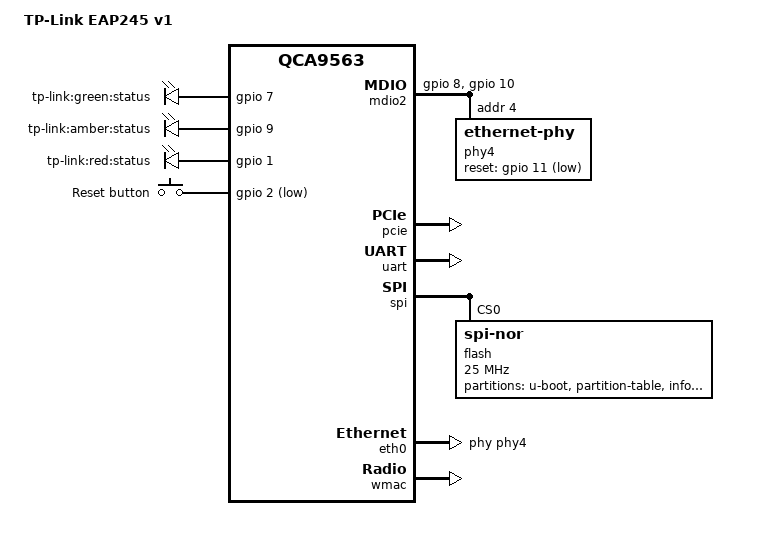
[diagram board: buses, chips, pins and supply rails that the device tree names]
// SPDX-License-Identifier: GPL-2.0-or-later OR MIT
/dts-v1/;

#include <dt-bindings/gpio/gpio.h>
#include <dt-bindings/input/input.h>

#include "qca956x.dtsi"

/ {
	compatible = "tplink,eap245-v1", "qca,qca9563";
	model = "TP-Link EAP245 v1";

	aliases {
		led-boot = &led_status_green;
		led-failsafe = &led_status_amber;
		led-running = &led_status_green;
		led-upgrade = &led_status_amber;
	};

	leds {
		compatible = "gpio-leds";

		led_status_green: status_green {
			label = "tp-link:green:status";
			gpios = <&gpio 7 GPIO_ACTIVE_HIGH>;
			default-state = "on";
		};

		led_status_amber: status_amber {
			label = "tp-link:amber:status";
			gpios = <&gpio 9 GPIO_ACTIVE_HIGH>;
		};

		led_status_red: status_red {
			label = "tp-link:red:status";
			gpios = <&gpio 1 GPIO_ACTIVE_HIGH>;
		};
	};

	keys {
		compatible = "gpio-keys";

		reset {
			label = "Reset button";
			linux,code = <KEY_RESTART>;
			gpios = <&gpio 2 GPIO_ACTIVE_LOW>;
			debounce-interval = <60>;
		};
	};

	mdio2: mdio {
		compatible = "virtual,mdio-gpio";

		gpios = <&gpio 8 GPIO_ACTIVE_HIGH>, /* MDC */
			<&gpio 10 GPIO_ACTIVE_HIGH>; /* MDIO */
		#address-cells = <1>;
		#size-cells = <0>;

		phy4: ethernet-phy@4 {
			reg = <4>;
			device_type = "ethernet-phy";
			reset-gpios = <&gpio 11 GPIO_ACTIVE_LOW>;
		};
	};
};

&pcie {
	status = "okay";
};

&uart {
	status = "okay";
};

&gpio {
	status = "okay";
};

&spi {
	status = "okay";
	num-cs = <1>;

	flash@0 {
		compatible = "jedec,spi-nor";
		reg = <0>;
		spi-max-frequency = <25000000>;

		partitions {
			compatible = "fixed-partitions";
			#address-cells = <1>;
			#size-cells = <1>;

			partition@0 {
				label = "u-boot";
				reg = <0x000000 0x020000>;
				read-only;
			};

			partition@20000 {
				label = "partition-table";
				reg = <0x020000 0x010000>;
				read-only;
			};

			info: partition@30000 {
				label = "info";
				reg = <0x030000 0x010000>;
				read-only;
			};

			partition@40000 {
				compatible = "openwrt,okli";
				label = "firmware";
				reg = <0x040000 0xf80000>;
			};

			partition@fc0000 {
				label = "config";
				reg = <0xfc0000 0x030000>;
				read-only;
			};

			art: partition@ff0000 {
				label = "art";
				reg = <0xff0000 0x010000>;
				read-only;
			};
		};
	};
};

&eth0 {
	status = "okay";

	phy-handle = <&phy4>;

	mtd-mac-address = <&info 0x8>;

	qca956x-serdes-fixup;

	gmac-config {
		device = <&gmac>;

		rgmii-ge0 = <1>;
		ge0-sgmii = <1>;
		rxdv-delay = <3>;
		rxd-delay = <3>;
	};
};

&wmac {
	status = "okay";

	mtd-cal-data = <&art 0x1000>;
	mtd-mac-address = <&info 0x8>;
	mtd-mac-address-increment = <2>;
};
